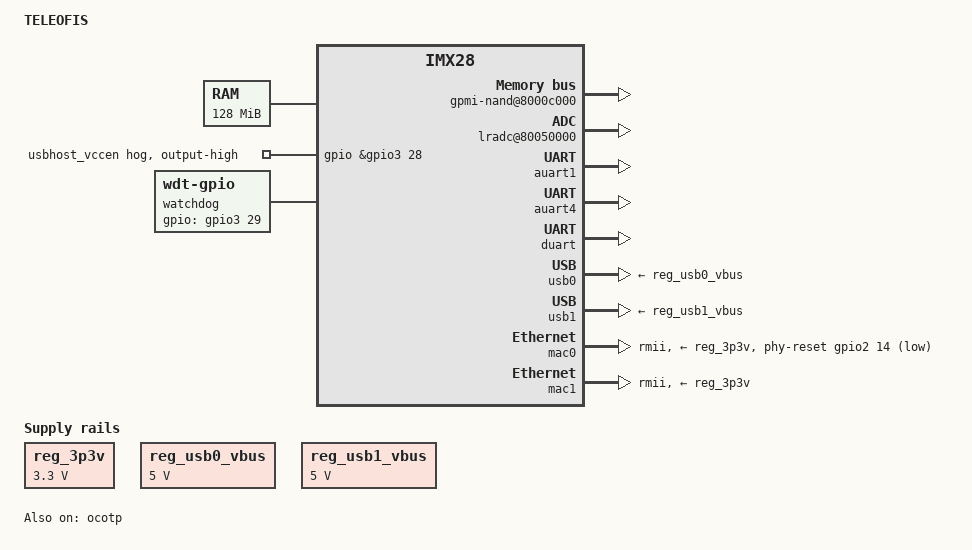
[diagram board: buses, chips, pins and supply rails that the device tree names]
/*
 * Copyright (C) 2013-2014 Michael Heimpold <mhei@heimpold.de>
 *
 * The code contained herein is licensed under the GNU General Public
 * License. You may obtain a copy of the GNU General Public License
 * Version 2 or later at the following locations:
 *
 * http://www.opensource.org/licenses/gpl-license.html
 * http://www.gnu.org/copyleft/gpl.html
 *
 * for 0046.1 & 0046.2
 *
 */

/dts-v1/;
#include "imx28.dtsi"
/ {
	model = "TELEOFIS";
	compatible = "i2se,duckbill", "fsl,imx28";

	memory {
		reg = <0x40000000 0x08000000>;
	};

	apb@80000000 {
		apbh@80000000 
		{
			gpmi-nand@8000c000 
			{
				pinctrl-names = "default";
				pinctrl-0 = <&gpmi_pins_0 &gpmi_pins_1>;
				status = "okay";
			};
			pinctrl@80018000 
			{
				pinctrl-names = "default";
				pinctrl-0 = <&hog_pins>;
				auart1_pins: auart1-pins@0 				/* RS485 */
				{
					reg = <0>;
					fsl,pinmux-ids = <
						MX28_PAD_AUART1_RX__AUART1_RX
						MX28_PAD_AUART1_TX__AUART1_TX

					>;
					fsl,drive-strength = <MXS_DRIVE_4mA>;
					fsl,voltage = <MXS_VOLTAGE_HIGH>;
					fsl,pull-up = <MXS_PULL_DISABLE>;
				};
				auart4_pins: auart4-pins@0 				/* RS232 */
				{
					reg = <0>;
					fsl,pinmux-ids = <
						MX28_PAD_SAIF0_MCLK__AUART4_CTS
						MX28_PAD_SAIF0_LRCLK__AUART4_RTS
						MX28_PAD_SAIF0_BITCLK__AUART4_RX
						MX28_PAD_SAIF0_SDATA0__AUART4_TX
					>;
					fsl,drive-strength = <MXS_DRIVE_4mA>;
					fsl,voltage = <MXS_VOLTAGE_HIGH>;
					fsl,pull-up = <MXS_PULL_DISABLE>;
				};
				duart_pins: duart-pins@0 {				/* for fake console */
					reg = <0>;
					fsl,pinmux-ids = <
						MX28_PAD_PWM0__DUART_RX
						MX28_PAD_PWM1__DUART_TX
					>;
					fsl,drive-strength = <MXS_DRIVE_4mA>;
					fsl,voltage = <MXS_VOLTAGE_HIGH>;
					fsl,pull-up = <MXS_PULL_DISABLE>;
				};
				watchdog: watchdog@0 {
					reg = <0>;
					fsl,pinmux-ids = <
						MX28_PAD_PWM4__GPIO_3_29		/* LED.TOP/WATCHDOG*/
					>;
					fsl,drive-strength = <MXS_DRIVE_4mA>;
					fsl,voltage = <MXS_VOLTAGE_HIGH>;
					fsl,pull-up = <MXS_PULL_DISABLE>;
				};
				gpio_pins_3V3: gpio-pins-3V3@0 {
					reg = <0>;
					fsl,pinmux-ids = <
						MX28_PAD_SSP0_DATA5__GPIO_2_5		/* GSM.SIMA */
						MX28_PAD_SSP1_CMD__GPIO_2_13		/* GSM.SIMDET */
						MX28_PAD_SSP2_SCK__GPIO_2_16		/* SIMDET.1# */
						MX28_PAD_SSP3_SCK__GPIO_2_24		/* SIMDET.0# */
						MX28_PAD_SSP3_SS0__GPIO_2_27		/* GSM.VCCEN# */
						MX28_PAD_PWM3__GPIO_3_28			/* USBHOST.VCCEN# */
						MX28_PAD_SSP2_SS0__GPIO_2_19		/* PCI.VCCEN# */
						/* ADDITIONAL GPIO */
						MX28_PAD_I2C0_SDA__GPIO_3_25		
						MX28_PAD_SAIF1_SDATA0__GPIO_3_26
						MX28_PAD_SSP0_DATA0__GPIO_2_0	
						MX28_PAD_SSP0_SCK__GPIO_2_10
						MX28_PAD_SSP0_DATA6__GPIO_2_6
						MX28_PAD_SSP0_DATA7__GPIO_2_7
						MX28_PAD_SSP0_DATA3__GPIO_2_3
						MX28_PAD_SSP0_DATA4__GPIO_2_4
						MX28_PAD_SSP1_SCK__GPIO_2_12
					>;
					fsl,drive-strength = <MXS_DRIVE_4mA>;
					fsl,voltage = <MXS_VOLTAGE_HIGH>;
					fsl,pull-up = <MXS_PULL_DISABLE>;
				};

				/* NAND */
				gpmi_pins_0: gpmi-pins-0@0 {
					reg = <0>;
					fsl,pinmux-ids = <
						MX28_PAD_GPMI_ALE__GPMI_ALE
						MX28_PAD_GPMI_CLE__GPMI_CLE
						MX28_PAD_GPMI_CE0N__GPMI_CE0N
						MX28_PAD_GPMI_D00__GPMI_D0
						MX28_PAD_GPMI_D01__GPMI_D1
						MX28_PAD_GPMI_D02__GPMI_D2
						MX28_PAD_GPMI_D03__GPMI_D3
						MX28_PAD_GPMI_D04__GPMI_D4
						MX28_PAD_GPMI_D05__GPMI_D5
						MX28_PAD_GPMI_D06__GPMI_D6
						MX28_PAD_GPMI_D07__GPMI_D7
						MX28_PAD_GPMI_RDN__GPMI_RDN
						MX28_PAD_GPMI_RESETN__GPMI_RESETN
						MX28_PAD_GPMI_WRN__GPMI_WRN
					>;
					fsl,drive-strength = <MXS_DRIVE_4mA>;
					fsl,voltage = <MXS_VOLTAGE_HIGH>;
					fsl,pull-up = <MXS_PULL_DISABLE>;
				};
				gpmi_pins_1: gpmi-pins-1@0 {
					reg = <0>;
					fsl,pinmux-ids = <
						MX28_PAD_GPMI_RDY0__GPMI_READY0
					>;
					fsl,drive-strength = <MXS_DRIVE_8mA>;
					fsl,voltage = <MXS_VOLTAGE_HIGH>;
					fsl,pull-up = <MXS_PULL_ENABLE>;
				};
				hog_pins: hog-pins-high@0 {
					reg = <0>;
					fsl,pinmux-ids = <
						MX28_PAD_SSP1_DATA0__GPIO_2_14		/* ETH.RES# workaround init*/
					>;
					fsl,drive-strength = <MXS_DRIVE_4mA>;
					fsl,voltage = <MXS_VOLTAGE_HIGH>;
					fsl,pull-up = <MXS_PULL_DISABLE>;
				};
			};
			ocotp: ocotp@8002c000 
			{
				compatible = "fsl,imx28-ocotp", "fsl,ocotp";
				#address-cells = <1>;
				#size-cells = <1>;
				reg = <0x8002c000 0x2000>;
				clocks = <&clks 25>;
				status = "okay";
			};
		};
		apbx@80040000 {
			power@80044000 {
				status = "okay";
				reg_vddd: regulator@80044040 {
					status = "okay";
				};
				reg_vdda: regulator@80044050 {
					status = "okay";
				};
				reg_vddio: regulator@80044060 {
					status = "okay";
				};
			};
			lradc@80050000 {
				fsl,lradc-touchscreen-wires = <4>;
				status = "okay";
				fsl,lradc-touchscreen-wires = <4>;
				fsl,ave-ctrl = <4>;
				fsl,ave-delay = <2>;
				fsl,settling = <10>;
			};
			auart1: serial@8006c000 {
				pinctrl-names = "default";
				pinctrl-0 = <&auart1_pins>;
				status = "okay";
			};
			auart4: serial@80072000 {
				pinctrl-names = "default";
				pinctrl-0 = <&auart4_pins>;
				status = "okay";
			};
			duart: serial@80074000 {
				pinctrl-names = "default";
				pinctrl-0 = <&duart_pins>;
				status = "okay";
			};
			usbphy0: usbphy@8007c000 {
				status = "okay";
			};
			usbphy1: usbphy@8007e000 {
				status = "okay";
			};
		};
	};
	ahb@80080000 {
		usb0: usb@80080000 {
			pinctrl-names = "default";
			pinctrl-0 = <&usb0_pins_a>;	/* pinctrl-0 = <&usb0_pins_a>; - normal  |||||   pinctrl-0 = <&usb0_pins_a &usb0_id_pins_a>; - gadget */
			vbus-supply = <&reg_usb0_vbus>;
			status = "okay";
		};
		usb1: usb@80090000 {
			pinctrl-names = "default";
			pinctrl-0 = <&usb1_pins_a>;
			vbus-supply = <&reg_usb1_vbus>;
			status = "okay";
		};
		mac0: ethernet@800f0000 {
			phy-mode = "rmii";
			pinctrl-names = "default";
			pinctrl-0 = <&mac0_pins_a>;
			phy-supply = <&reg_3p3v>;
			phy-reset-gpios = <&gpio2 14 GPIO_ACTIVE_LOW>;
			phy-reset-duration = <200>;
			status = "okay";
		};
		mac1: ethernet@800f4000 {
			phy-mode = "rmii";
			pinctrl-names = "default";
			pinctrl-0 = <&mac1_pins_a>;
			phy-supply = <&reg_3p3v>;
			status = "okay";
		};
	};
	gpio {
		compatible = "fsl,imx28-gpio", "fsl,mxs-gpio";
		pinctrl-names = "default";
		/*pinctrl-0 = <&gpio_pins_1V8 &gpio_pins_3V3>;*/
		pinctrl-0 = <&gpio_pins_3V3>;
		gpio-controller;
		#gpio-cells = <2>;
		gpio_GSM_SIMA {
			label = "gsm:simnumber";
			gpios = <&gpio2 5 GPIO_ACTIVE_HIGH>;
			default-state = "off";
		};
		gpio_GSM_SIMDET {					/* out to modem */
			label = "gsm:simdet";
			gpios = <&gpio2 13 GPIO_ACTIVE_HIGH>;
			default-state = "off";
		};
		gpio_GSM_SIMDET_0 {
			label = "gsm:simdet0";
			input;
			gpios = <&gpio2 24 GPIO_ACTIVE_LOW>;
		};
		gpio_GSM_SIMDET_1 {
			label = "gsm:simdet1";
			gpios = <&gpio2 16 GPIO_ACTIVE_LOW>;
			input;
		};
		gpio_GSM_VCCEN# {
			label = "gsm:vccen";
			gpios = <&gpio2 27 GPIO_ACTIVE_LOW>;
			output-low;
		};
		gpio_USBHOST_VCCEN {
			gpio-hog;
			label = "usb1:vccen";
			gpios = <&gpio3 28 GPIO_ACTIVE_HIGH>;
			output-high;
			line-name = "usbhost_vccen";
		};
		gpio_PCI_VCCEN# {
			label = "pci:vccen";
			gpios = <&gpio2 19 GPIO_ACTIVE_LOW>;
			default-state = "off";
		};
		gpio_0_PULLUP# {
			label = "0:pullup";
			gpios = <&gpio2 7 GPIO_ACTIVE_LOW>;
			default-state = "off";
		};
		gpio_0_PULLDOWN {
			label = "0:pulldown";
			gpios = <&gpio2 3 GPIO_ACTIVE_LOW>;
			default-state = "off";
		};
		gpio_1_PULLUP# {
			label = "1:pullup";
			gpios = <&gpio2 4 GPIO_ACTIVE_LOW>;
			default-state = "off";
		};
		gpio_1_PULLDOWN {
			label = "1:pulldown";
			gpios = <&gpio2 6 GPIO_ACTIVE_LOW>;
			default-state = "off";
		};
		gpio_2_PULLUP# {
			label = "2:pullup";
			gpios = <&gpio2 10 GPIO_ACTIVE_LOW>;
			default-state = "off";
		};
		gpio_2_PULLDOWN {
			label = "2:pulldown";
			gpios = <&gpio3 25 GPIO_ACTIVE_LOW>;
			default-state = "off";
		};
		gpio_3_PULLUP# {
			label = "3:pullup";
			gpios = <&gpio2 0 GPIO_ACTIVE_LOW>;
			default-state = "off";
		};
		gpio_3_PULLDOWN {
			label = "3:pulldown";
			gpios = <&gpio3 26 GPIO_ACTIVE_LOW>;
			default-state = "off";
		};
	};
	watchdog {
		/* ADM706 */
		compatible = "linux,wdt-gpio";
		pinctrl-names = "default";
		pinctrl-0 = <&watchdog>;
		gpios = <&gpio3 29 GPIO_ACTIVE_HIGH>;
		hw_algo = "toggle";
		hw_margin_ms = <8000>;
		always-running = <1>;
	};
	regulators {
		compatible = "simple-bus";

		reg_3p3v: 3p3v {
			compatible = "regulator-fixed";
			regulator-name = "3P3V";
			regulator-min-microvolt = <3300000>;
			regulator-max-microvolt = <3300000>;
			regulator-always-on;
		};
		reg_usb0_vbus: usb0_vbus {
			compatible = "regulator-fixed";
			regulator-name = "usb0_vbus";
			regulator-min-microvolt = <5000000>;
			regulator-max-microvolt = <5000000>;
			regulator-always-on;
		};
		reg_usb1_vbus: usb1_vbus {
			compatible = "regulator-fixed";
			regulator-name = "usb1_vbus";
			regulator-min-microvolt = <5000000>;
			regulator-max-microvolt = <5000000>;
			regulator-always-on;
		};
	};
};
